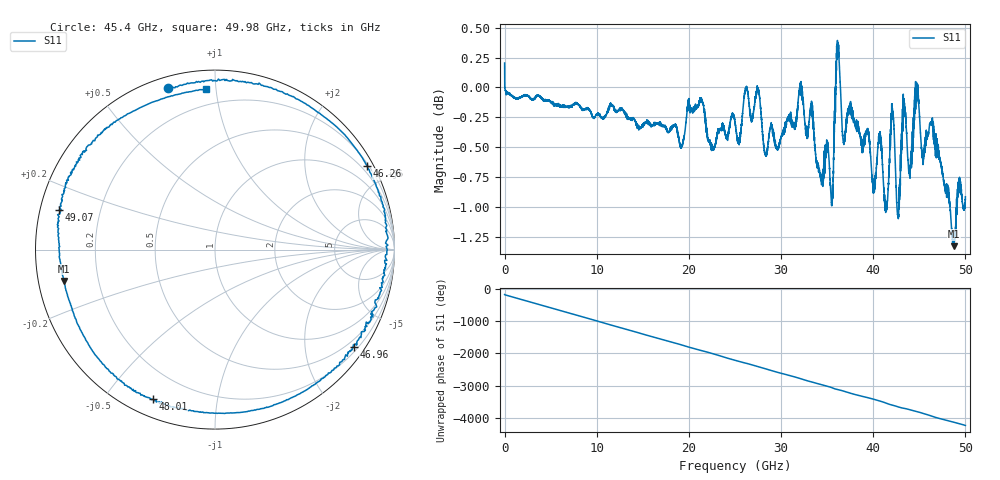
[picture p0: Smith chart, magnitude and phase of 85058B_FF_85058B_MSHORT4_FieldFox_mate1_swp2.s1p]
!Created with skrf (http://scikit-rf.org).
# Hz S RI R 50.0
!freq ReS11 ImS11
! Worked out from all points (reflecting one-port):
!   10001 points, 300 kHz to 50 GHz, reference 50 ohm
!   lowest |S11| = -1.3 dB at 48.74 GHz (marker M1), VSWR 13.11, Z = 3.86 - j5.13 ohm
!   phase of S11 starts at -175 deg and turns -4054 deg over the sweep
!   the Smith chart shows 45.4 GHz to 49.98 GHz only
!   S11 on the Smith chart (normalised r, x): 45.4 GHz: 0.05, +0.75; 46.26 GHz: 0.28, +3.87; 46.96 GHz: 0.31, -3.13; 48.01 GHz: 0.07, -0.66; 49.07 GHz: 0.06, +0.13; 49.98 GHz: 0.10, +0.94
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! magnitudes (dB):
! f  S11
! 300 kHz  0.2
! 6.25 GHz  -0.2
! 12.5 GHz  -0.2
! 18.75 GHz  -0.4
! 25 GHz  -0.3
! 26.23 GHz  0.0
! 31.25 GHz  -0.3
! 32.17 GHz  0.0
! 35.46 GHz  -1.0
! 36.15 GHz  0.3
! 36.79 GHz  -0.5
! 37.5 GHz  -0.2
! 40.06 GHz  -0.9
! 40.73 GHz  -0.4
! 41.38 GHz  -1.0
! 42.06 GHz  -0.2
! 42.69 GHz  -1.1
! 43.31 GHz  -0.1
! 43.75 GHz  -0.6
! 44.74 GHz  0.0
! 45.4 GHz  -0.6
! 46.26 GHz  -0.3
! 46.96 GHz  -0.5
! 48.01 GHz  -0.9
! 48.74 GHz  -1.3
! 49.07 GHz  -1.0
! 49.98 GHz  -1.0
! 50 GHz  -0.9
